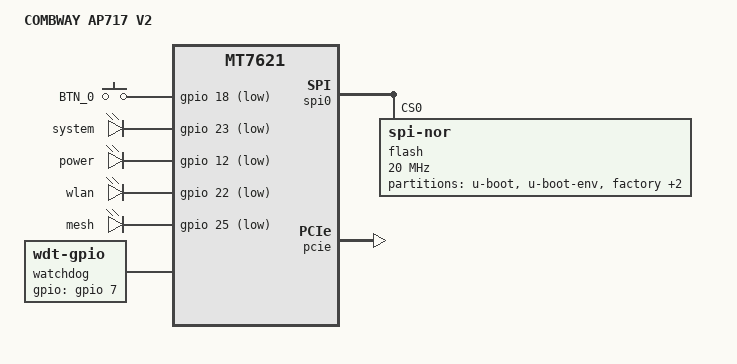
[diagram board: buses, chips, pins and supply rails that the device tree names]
// SPDX-License-Identifier: GPL-2.0-or-later OR MIT

#include "mt7621.dtsi"

#include <dt-bindings/input/input.h>
#include <dt-bindings/gpio/gpio.h>
#include <dt-bindings/leds/common.h>

/ {
	compatible = "combway,cw-ap717-v2", "mediatek,mt7621-soc";
	model = "COMBWAY AP717 V2";

	aliases {
		led-boot = &led_sys;
		led-failsafe = &led_sys;
		led-running = &led_sys;
		led-upgrade = &led_sys;
		label-mac-device = &gmac0;
	};

	chosen {
		bootargs = "console=ttyS0,115200";
	};

	keys {
		compatible = "gpio-keys";

		BTN_0 {
			label = "BTN_0";
			gpios = <&gpio 18 GPIO_ACTIVE_LOW>;
			linux,code = <BTN_0>;
		};

	};

	leds {
		compatible = "gpio-leds";

		led_sys:system {
			label = "system";
			gpios = <&gpio 23 GPIO_ACTIVE_LOW>;
			default-state = "off";
		};

		power {
			label = "power";
			gpios = <&gpio 12 GPIO_ACTIVE_LOW>;
			default-state = "on";
		};

		wlan {
			label = "wlan";
			gpios = <&gpio 22 GPIO_ACTIVE_LOW>;
			default-state = "off";
		};

		// red
		mesh {
			label = "mesh";
			gpios = <&gpio 25 GPIO_ACTIVE_LOW>;
			default-state = "off";
		};
	};

	watchdog {
		compatible = "linux,wdt-gpio";
		gpios = <&gpio 7 GPIO_ACTIVE_HIGH>;
		hw_algo = "toggle";
		hw_margin_ms = <25000>;
		always-running;
	};

};


&spi0 {
	status = "okay";

	flash@0 {
		compatible = "jedec,spi-nor";
		reg = <0>;
		spi-max-frequency = <20000000>;

		partitions {
			compatible = "fixed-partitions";
			#address-cells = <1>;
			#size-cells = <1>;

			partition@0 {
				label = "u-boot";
				reg = <0x0 0x30000>;
				read-only;
			};

			partition@30000 {
				label = "u-boot-env";
				reg = <0x30000 0x20000>;
				read-only;
			};

			factory: partition@50000 {
				label = "factory";
				reg = <0x50000 0x40000>;

				compatible = "nvmem-cells";
				#address-cells = <1>;
				#size-cells = <1>;
				
				macaddr_factory_0004: macaddr@0004 {
					reg = <0x0004 0x6>;
				};
			};

			partition@90000 {
				compatible = "denx,uimage";
				label = "firmware";
				reg = <0x90000 0xf60000>;
			};

			partition@ff0000 {
				label = "wlanmac";
				reg = <0xff0000 0x10000>;
			};
		};
	};
};

&pcie {
	status = "okay";
};

&pcie0 {
	wifi@0,0 {
		reg = <0x0000 0 0 0 0>;
		mediatek,mtd-eeprom = <&factory 0x0000>;
		nvmem-cells = <&macaddr_factory_0004>;
		nvmem-cell-names = "mac-address";
		mac-address-increment = <1>;

		led {
			led-active-low;
		};
	};
};

&pcie1 {
	wifi@0,0 {
		reg = <0x0000 0 0 0 0>;
		mediatek,mtd-eeprom = <&factory 0x8000>;
		nvmem-cells = <&macaddr_factory_0004>;
		nvmem-cell-names = "mac-address";
		mac-address-increment = <2>;
		ieee80211-freq-limit = <5000000 6000000>;

		led {
			led-sources = <2>;
			led-active-low;
		};
	};
};

&state_default {
	gpio {
		groups = "wdt", "i2c", "jtag", "uart2", "rgmii2";
		function = "gpio";
	};
};

&ethernet {
	pinctrl-0 = <&mdio_pins>, <&rgmii1_pins>;
};

&gmac0 {
	nvmem-cells = <&macaddr_factory_0004>;
	nvmem-cell-names = "mac-address";
	label = "dsa";
};

&switch0 {
	ports {
		port@0 {
			status = "okay";
			label = "eth0";
		};

		port@2 {
			status = "okay";
			label = "eth1";
		};

		port@4 {
			status = "okay";
			label = "eth2";
			nvmem-cells = <&macaddr_factory_0004>;
			nvmem-cell-names = "mac-address";
		};
	};
};

